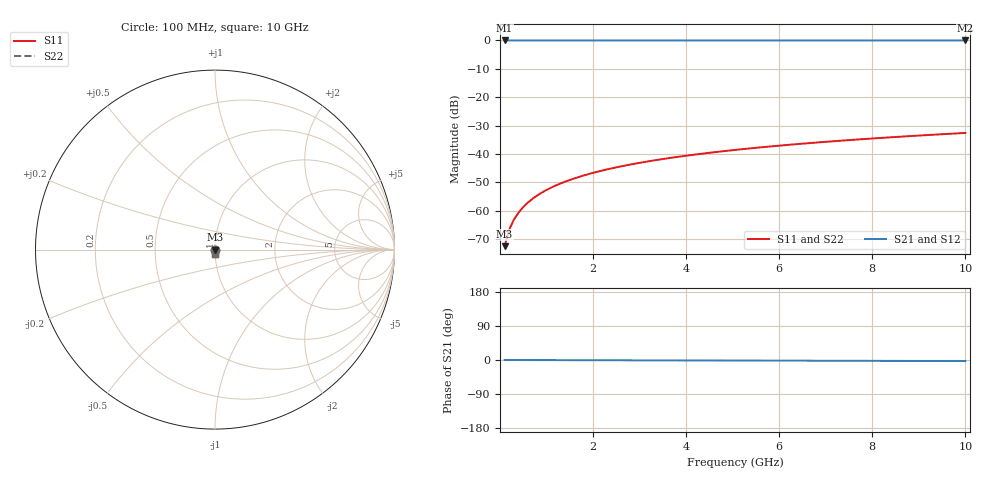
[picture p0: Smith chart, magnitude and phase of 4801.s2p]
# Hz S RI R 50.00
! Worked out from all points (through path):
!   100 points, 100 MHz to 10 GHz, reference 50 ohm
!   highest |S21| = 0.00 dB at 100 MHz (marker M1); lowest = 0.0 dB at 10 GHz (marker M2)
!   lowest |S11| = -72.5 dB at 100 MHz (marker M3), VSWR 1.00, Z = 50 - j0.0231 ohm
!   |S11| at or under -10 dB: start of sweep to end of sweep
!   |S22| runs from -72.5 to -32.6 dB; largest |S21 - S12| = 0
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1e8  4.98e-05 -0.000231  0.9999 -0.000489  0.9999 -0.000489  4.98e-05 -0.000231
2e8  4.95e-05 -0.000463  0.9999 -0.000977  0.9999 -0.000977  4.95e-05 -0.000463
3e8  4.88e-05 -0.000694  0.9999 -0.00147  0.9999 -0.00147  4.88e-05 -0.000694
4e8  4.79e-05 -0.000926  0.9999 -0.00196  0.9999 -0.00196  4.79e-05 -0.000926
5e8  4.67e-05 -0.00116  0.9999 -0.00244  0.9999 -0.00244  4.67e-05 -0.00116
6e8  4.53e-05 -0.00139  0.9999 -0.00293  0.9999 -0.00293  4.53e-05 -0.00139
7e8  4.36e-05 -0.00162  0.9999 -0.00342  0.9999 -0.00342  4.36e-05 -0.00162
8e8  4.17e-05 -0.00185  0.9999 -0.00391  0.9999 -0.00391  4.17e-05 -0.00185
9e8  3.96e-05 -0.00208  0.9999 -0.0044  0.9999 -0.0044  3.96e-05 -0.00208
1.1e9  3.46e-05 -0.00255  0.9999 -0.00538  0.9999 -0.00538  3.46e-05 -0.00255
1.4e9  2.53e-05 -0.00324  0.9999 -0.00685  0.9999 -0.00685  2.53e-05 -0.00324
1.8e9  9.78e-06 -0.00417  0.9999 -0.00881  0.9999 -0.00881  9.78e-06 -0.00417
2.1e9  -4.3e-06 -0.00487  0.9999 -0.0103  0.9999 -0.0103  -4.3e-06 -0.00487
2.5e9  -2.63e-05 -0.0058  0.9998 -0.0122  0.9998 -0.0122  -2.63e-05 -0.0058
2.9e9  -5.2e-05 -0.00673  0.9998 -0.0142  0.9998 -0.0142  -5.2e-05 -0.00673
3.4e9  -8.94e-05 -0.0079  0.9998 -0.0167  0.9998 -0.0167  -8.94e-05 -0.0079
4.2e9  -0.000161 -0.00976  0.9997 -0.0206  0.9997 -0.0206  -0.000161 -0.00976
5.1e9  -0.00026 -0.0119  0.9995 -0.025  0.9995 -0.025  -0.00026 -0.0119
5.9e9  -0.000364 -0.0137  0.9994 -0.029  0.9994 -0.029  -0.000364 -0.0137
6.7e9  -0.000483 -0.0156  0.9993 -0.033  0.9993 -0.033  -0.000483 -0.0156
8.4e9  -0.000786 -0.0196  0.9989 -0.0414  0.9989 -0.0414  -0.000786 -0.0196
1e10  -0.00114 -0.0234  0.9984 -0.0494  0.9984 -0.0494  -0.00114 -0.0234
